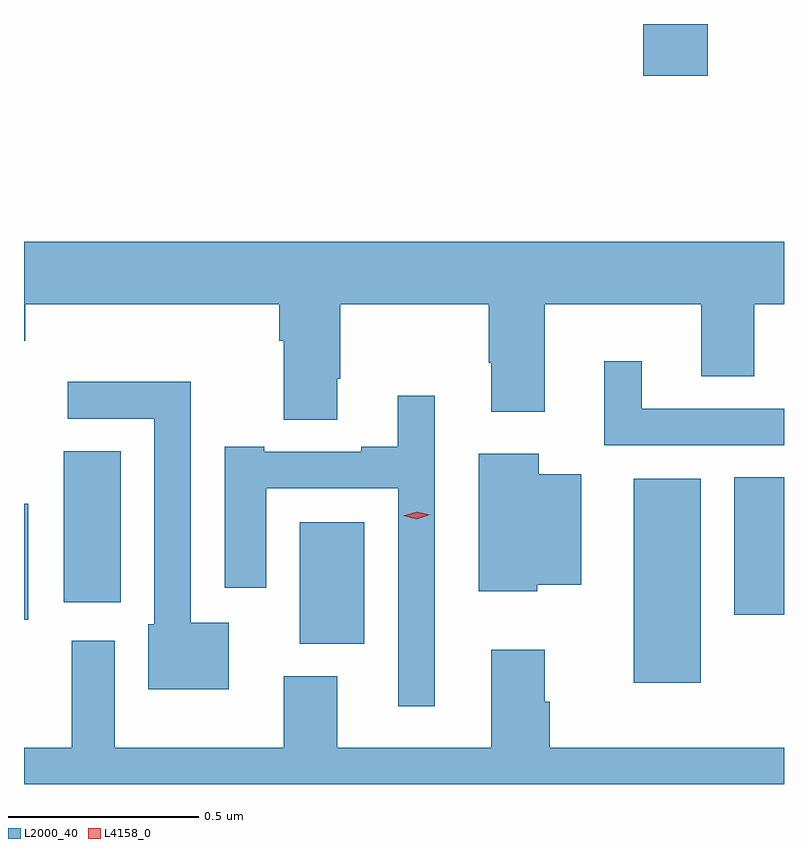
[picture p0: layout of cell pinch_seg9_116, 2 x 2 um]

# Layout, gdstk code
import gdstk
lib = gdstk.Library(unit=1e-6, precision=1e-09)
def R(c, l, rs):  # rectangles x0, y0, x1, y1
    for r in rs: c.add(gdstk.rectangle(r[:2], r[2:], *l))
def P(c, l, *ps):  # polygons
    for p in ps: c.add(gdstk.Polygon(p, *l))
L2000_40 = (2000, 40)
L4158_0 = (4158, 0)

pinch_seg9_116 = lib.new_cell('pinch_seg9_116')
R(pinch_seg9_116, L2000_40, [(864.83,1230.056,865.006,1230.592), (863.951,1230.158,864.121,1230.478), (863.225,1230.221,863.236,1230.526), (865.094,1230.234,865.225,1230.596), (863.33,1230.267,863.479,1230.665), (864.854,1231.653,865.024,1231.789)])
P(pinch_seg9_116, L2000_40, [(864.049,1230.856),(864.057,1230.856),(864.057,1231.052),(864.448,1231.052),(864.448,1230.898),(864.455,1230.898),(864.455,1230.768),(864.595,1230.768),(864.595,1231.052),(865.007,1231.052),(865.007,1230.862),(865.147,1230.862),(865.147,1231.052),(865.225,1231.052),(865.225,1231.216),(863.225,1231.216),(863.225,1230.956),(863.228,1230.956),(863.228,1231.052),(863.897,1231.052),(863.897,1230.956),(863.909,1230.956),(863.909,1230.748),(864.049,1230.748)],
  [(865.225,1230.777),(864.85,1230.777),(864.85,1230.901),(864.752,1230.901),(864.752,1230.681),(865.225,1230.681)],
  [(863.764,1230.214),(863.664,1230.214),(863.664,1230.848),(863.34,1230.848),(863.34,1230.75),(863.568,1230.75),(863.568,1230.21),(863.552,1230.21),(863.552,1230.038),(863.764,1230.038)],
  [(864.306,1230.811),(864.209,1230.811),(864.209,1230.676),(864.113,1230.676),(864.113,1230.663),(863.857,1230.663),(863.857,1230.676),(863.753,1230.676),(863.753,1230.306),(863.863,1230.306),(863.863,1230.567),(864.21,1230.567),(864.21,1229.994),(864.306,1229.994)],
  [(864.576,1230.314),(864.691,1230.314),(864.691,1230.604),(864.58,1230.604),(864.58,1230.658),(864.422,1230.658),(864.422,1230.296),(864.576,1230.296)],
  [(865.225,1229.884),(864.608,1229.884),(864.608,1230.005),(864.595,1230.005),(864.595,1230.142),(864.455,1230.142),(864.455,1229.884),(864.049,1229.884),(864.049,1230.073),(863.909,1230.073),(863.909,1229.884),(863.464,1229.884),(863.464,1230.166),(863.351,1230.166),(863.351,1229.884),(863.225,1229.884),(863.225,1229.789),(865.225,1229.789)])
P(pinch_seg9_116, L4158_0, [(864.259,1230.486),(864.223,1230.495),(864.222,1230.495),(864.223,1230.495),(864.258,1230.506),(864.294,1230.498),(864.294,1230.497),(864.294,1230.497)])

lib.write_gds('pinch_seg9_116.gds')
